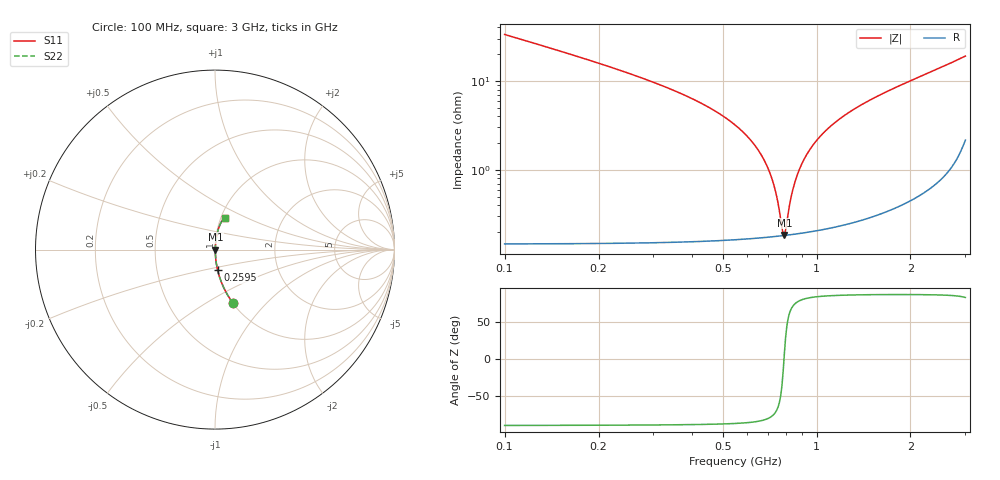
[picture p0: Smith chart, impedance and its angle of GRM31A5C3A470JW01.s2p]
!Murata Part Number: GRM31A5C3A470JW01
!These Parameters are Measured in Series Mode Connection
!Data Generated on Mar 30, 2021
!  o--ll--o
!Port1  Port2
!  o------o
!Operation Temp=25[degC], DC Bias Voltage=0[V]
!Freq. Start=100[MHz] Stop=3[GHz] 401[Steps]
# Hz S RI R 50
!Freq.(Hz) S11(Real) S11(Imag) S21(Real) S21(Imag) S12(Real) S12(Imag) S22(Real) S22(Imag)
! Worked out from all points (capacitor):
!   401 points, 100 MHz to 3 GHz, reference 50 ohm
!   read as one part in series: C = 47 pF near 114.5 MHz
!   lowest |Z| = 185 mohm at 788.8 MHz (marker M1)
!   series resonance near 786.4 MHz, so ESL is about 870 pH
!   S11 on the Smith chart (normalised r, x): 100 MHz: 1.00, -0.67; 259.5 MHz: 1.00, -0.23; 3 GHz: 1.04, +0.38
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1e8  0.101 -0.2991  0.899 0.2991  0.899 0.2991  0.101 -0.2991
1.725e8  0.0351 -0.1801  0.9649 0.1801  0.9649 0.1801  0.0351 -0.1801
2.595e8  0.0148 -0.1145  0.9852 0.1145  0.9852 0.1145  0.0148 -0.1145
4.8425e8  0.00348 -0.0434  0.9965 0.0434  0.9965 0.0434  0.00348 -0.0434
5.8575e8  0.00233 -0.0258  0.9977 0.0258  0.9977 0.0258  0.00233 -0.0258
6.51e8  0.00198 -0.0164  0.998 0.0164  0.998 0.0164  0.00198 -0.0164
7.0175e8  0.00185 -0.00988  0.9982 0.00988  0.9982 0.00988  0.00185 -0.00988
7.38e8  0.00181 -0.00551  0.9982 0.00551  0.9982 0.00551  0.00181 -0.00551
7.7425e8  0.00181 -0.00135  0.9982 0.00135  0.9982 0.00135  0.00181 -0.00135
7.8875e8  0.00183 0.000261  0.9982 -0.000261  0.9982 -0.000261  0.00183 0.000261
8.0325e8  0.00184 0.00184  0.9982 -0.00184  0.9982 -0.00184  0.00184 0.00184
8.25e8  0.00188 0.00417  0.9981 -0.00417  0.9981 -0.00417  0.00188 0.00417
8.395e8  0.00191 0.00569  0.9981 -0.00569  0.9981 -0.00569  0.00191 0.00569
8.6125e8  0.00196 0.00792  0.998 -0.00792  0.998 -0.00792  0.00196 0.00792
8.9025e8  0.00205 0.0108  0.998 -0.0108  0.998 -0.0108  0.00205 0.0108
9.6275e8  0.00233 0.0178  0.9977 -0.0178  0.9977 -0.0178  0.00233 0.0178
1.0715e9  0.00292 0.0275  0.9971 -0.0275  0.9971 -0.0275  0.00292 0.0275
1.26725e9  0.00438 0.0437  0.9956 -0.0437  0.9956 -0.0437  0.00438 0.0437
1.55e9  0.00734 0.0653  0.9927 -0.0653  0.9927 -0.0653  0.00734 0.0653
2.03575e9  0.015 0.1011  0.985 -0.1011  0.985 -0.1011  0.015 0.1011
2.5215e9  0.0275 0.1381  0.9725 -0.1381  0.9725 -0.1381  0.0275 0.1381
3e9  0.0536 0.1753  0.9464 -0.1753  0.9464 -0.1753  0.0536 0.1753
